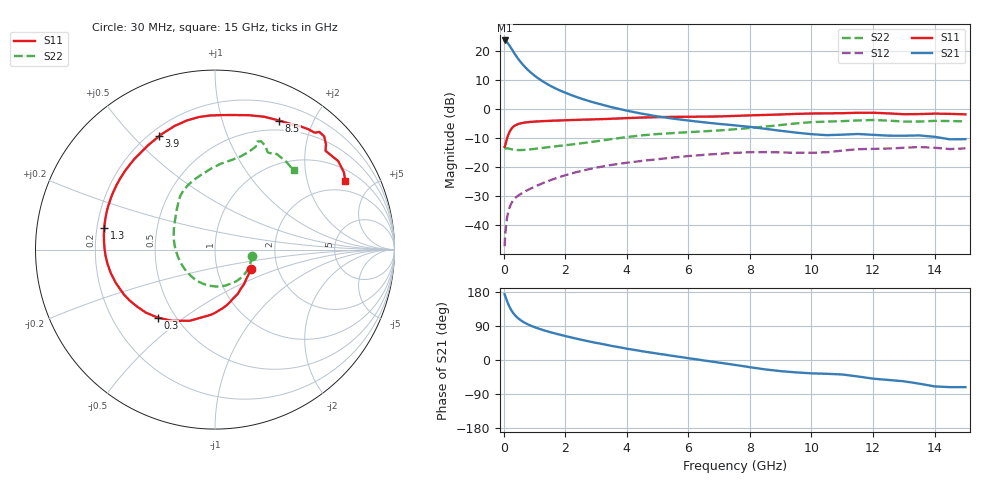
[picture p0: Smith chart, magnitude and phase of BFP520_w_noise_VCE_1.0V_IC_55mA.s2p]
! (c) 2015  Infineon Technologies AG, Munich
! Infineon Technologies  Discrete & RF Semiconductors
! BFP520
! VCE =  1.0 V,  IC =  55 mA
! Common Emitter S-Parameters:  Oct 2015
# GHz  S  MA  R  50
!  f  S11  S21  S12  S22
! GHz  MAG  ANG  MAG  ANG  MAG  ANG  MAG  ANG
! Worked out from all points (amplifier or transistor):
!   109 points, 30 MHz to 15 GHz, reference 50 ohm
!   highest |S21| = 23.8 dB at 30 MHz (marker M1)
!   |S21| within 3 dB of that: start of sweep to 263.2 MHz
!   unconditionally stable (mu >= 1): start of sweep to end of sweep
!   at 450 MHz: K = 1.44, MAG = 19.9 dB, |S12| = -29.9 dB
!   at 4 GHz: K = 2.22, MAG = 2.7 dB, |S12| = -18.4 dB
!   at 15 GHz: K = 2.01, MAG = -4.2 dB, |S12| = -13.4 dB
!   lowest NFmin = 3.45 dB at 450 MHz
!   S11 on the Smith chart (normalised r, x): 30 MHz: 1.45, -0.33; 300 MHz: 0.40, -0.40; 1.3 GHz: 0.23, +0.09; 3.9 GHz: 0.24, +0.60; 8.5 GHz: 0.38, +1.55; 15 GHz: 1.46, +3.45
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0.03  0.227 -28.4  15.42 173.6  0.0044 76.9  0.2079 -9.1
0.07  0.2627 -57.5  15.06 164.0  0.0091 73.5  0.2131 -27.3
0.09  0.2886 -68.9  14.72 159.6  0.0115 70.3  0.2138 -35.6
0.15  0.3661 -94.5  13.49 147.2  0.0172 63.8  0.2119 -58.1
0.2  0.4203 -109.4  12.35 138.6  0.0211 59.0  0.2091 -73.9
0.25  0.4632 -121.1  11.2 131.2  0.0241 55.4  0.2061 -87.7
0.3  0.4956 -130.2  10.15 125.1  0.0267 52.4  0.2037 -99.3
0.35  0.521 -137.6  9.225 119.9  0.0287 50.3  0.2016 -109.0
0.45  0.5538 -149.2  7.704 111.5  0.0321 47.7  0.1997 -124.6
0.6  0.5829 -161.3  6.095 102.3  0.0362 46.2  0.1998 -141.5
0.7  0.5953 -167.4  5.319 97.5  0.0388 45.9  0.2013 -149.8
0.9  0.6111 -177.0  4.229 89.9  0.0439 46.0  0.2061 -162.2
1.3  0.6287 169.1  2.971 78.5  0.0544 46.0  0.2183 -178.8
1.8  0.6441 156.1  2.15 67.3  0.0679 44.6  0.2352 166.9
2.6  0.666 138.8  1.485 52.0  0.0891 39.5  0.264 149.3
3.9  0.7043 116.3  0.979 31.5  0.1185 28.0  0.3284 128.8
5.1  0.7376 101.1  0.744 15.6  0.1404 18.1  0.3791 116.3
7.6  0.7751 74.5  0.525 -14.0  0.1793 -5.4  0.4589 91.0
8.5  0.8029 63.6  0.463 -24.8  0.1838 -15.0  0.5055 79.9
10.5  0.8546 49.9  0.36 -36.4  0.1829 -25.2  0.6169 68.4
13  0.8262 41.8  0.352 -56.2  0.2182 -45.5  0.6169 61.6
15  0.8219 27.9  0.307 -71.6  0.2132 -61.4  0.6219 45.3
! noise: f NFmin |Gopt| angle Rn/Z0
0.45  3.45  0.22  -160  0.3
0.9  3.45  0.24  -152  0.32
1.9  3.61  0.32  -128  0.42
2.4  3.64  0.33  -125  0.4
3.5  3.7  0.31  -111  0.51
